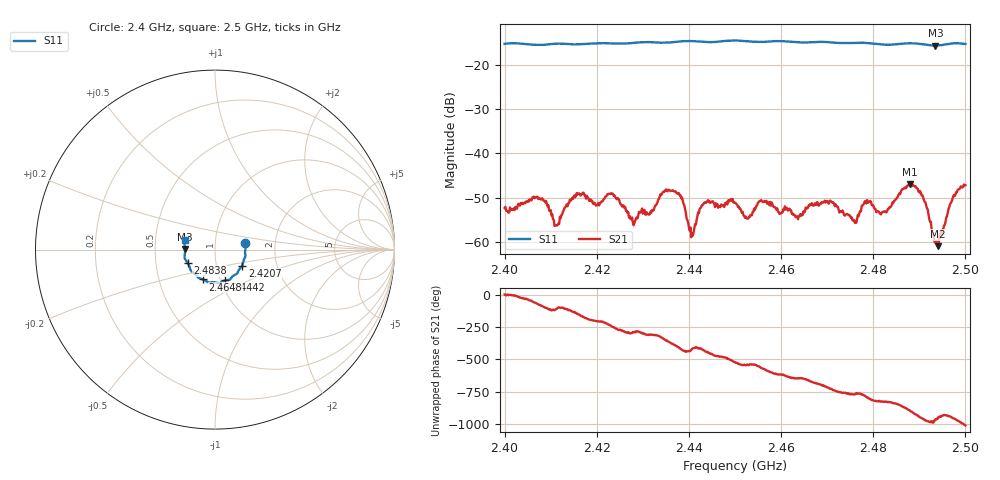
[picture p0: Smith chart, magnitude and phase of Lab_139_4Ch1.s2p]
# Hz S RI R 50
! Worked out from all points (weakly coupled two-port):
!   601 points, 2.4 GHz to 2.5 GHz, reference 50 ohm
!   highest |S21| = -46.90 dB at 2.488 GHz (marker M1); lowest = -60.9 dB at 2.494 GHz (marker M2)
!   lowest |S11| = -15.6 dB at 2.4935 GHz (marker M3), VSWR 1.40, Z = 35.8 + j0.122 ohm
!   |S11| at or under -10 dB: start of sweep to end of sweep
!   S12 and S22 are empty: the file has one direction only
!   S11 on the Smith chart (normalised r, x): 2.4 GHz: 1.40, +0.11; 2.4207 GHz: 1.33, -0.24; 2.4442 GHz: 1.05, -0.37; 2.4648 GHz: 0.83, -0.28; 2.4838 GHz: 0.73, -0.11; 2.5 GHz: 0.71, +0.08
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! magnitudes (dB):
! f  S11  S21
! 2.4 GHz  -15.2  -52.3
! 2.4072 GHz  -15.5  -49.8
! 2.4113 GHz  -15.2  -56.3
! 2.4167 GHz  -15.3  -49.2
! 2.4207 GHz  -15.1  -51.2
! 2.4233 GHz  -15.1  -49.1
! 2.4278 GHz  -15.0  -55.6
! 2.4333 GHz  -15.0  -50.4
! 2.4377 GHz  -14.7  -49.1
! 2.4407 GHz  -14.6  -58.0
! 2.4442 GHz  -14.9  -50.6
! 2.45 GHz  -14.5  -51.1
! 2.4648 GHz  -14.9  -53.1
! 2.4667 GHz  -14.9  -51.2
! 2.476 GHz  -15.0  -55.7
! 2.4833 GHz  -15.4  -52.5
! 2.4838 GHz  -15.4  -52.0
! 2.488 GHz  -15.1  -46.9
! 2.4908 GHz  -15.4  -49.9
! 2.4935 GHz  -15.6  -60.2
! 2.494 GHz  -15.6  -60.9
! 2.5 GHz  -15.3  -47.2
